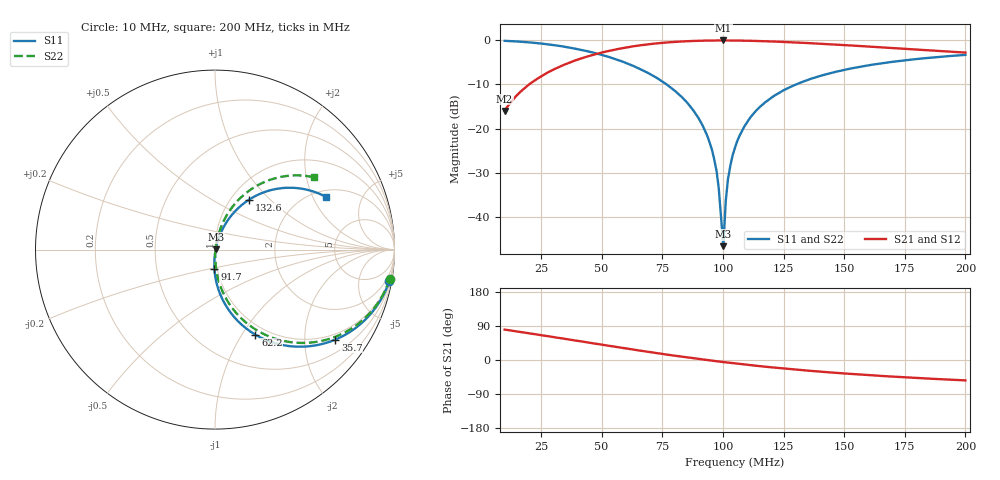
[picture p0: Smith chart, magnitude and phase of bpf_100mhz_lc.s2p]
! Touchstone 2-Port S-Parameter Data
! Circuit: 100 MHz LC Tank Bandpass Filter
! Substrate: FR4 (er=4.4, h=1.6mm)
! Transmission Line: CPWG (w=1.87mm, s=0.40mm, eps_eff=2.88)
! Simulation Mode: traces
# GHz S MA R 50.0
! Freq(GHz)  S11_mag S11_ang  S21_mag S21_ang  S12_mag S12_ang  S22_mag S22_ang
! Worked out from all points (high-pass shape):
!   201 points, 10 MHz to 200 MHz, reference 50 ohm
!   highest |S21| = -0.03 dB at 100.2 MHz (marker M1); lowest = -16.0 dB at 10 MHz (marker M2)
!   |S21| within 3 dB of the highest: 48.2 MHz to end of sweep
!   lowest |S11| = -46.6 dB at 100.2 MHz (marker M3), VSWR 1.01, Z = 50.4 + j0.243 ohm
!   |S11| at or under -10 dB: 76.84 MHz to 130.1 MHz (53.24 MHz wide, 51.5 % of centre)
!   |S22| runs from -46.6 to -0.1 dB; largest |S21 - S12| = 0
!   S11 on the Smith chart (normalised r, x): 10 MHz: 1, -11; 35.7 MHz: 0.83, -2.79; 62.2 MHz: 0.88, -1.15; 91.7 MHz: 0.97, -0.21; 132.6 MHz: 1.21, +0.76; 200 MHz: 2.29, +2.53
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0.01  0.9872 -10.2  0.1587 80.3  0.1587 80.3  0.9872 -9.7
0.0204  0.9465 -20.9  0.3215 70.1  0.3215 70.1  0.9465 -19.8
0.0357  0.8376 -36.8  0.5444 55.0  0.5444 55.0  0.8376 -34.9
0.0423  0.7722 -43.8  0.6332 48.3  0.6332 48.3  0.7722 -41.5
0.0622  0.5245 -64.6  0.8484 28.3  0.8484 28.3  0.5245 -61.3
0.0736  0.3626 -76.0  0.9287 17.4  0.9287 17.4  0.3626 -72.1
0.0851  0.1996 -86.5  0.9765 7.0  0.9765 7.0  0.1996 -82.0
0.0917  0.1081 -91.7  0.9907 1.3  0.9907 1.3  0.1081 -86.8
0.0955  0.0577 -93.4  0.9949 -1.8  0.9949 -1.8  0.0577 -88.3
0.0974  0.03317 -92.4  0.996 -3.3  0.996 -3.3  0.03317 -87.2
0.0983  0.02113 -89.7  0.9963 -4.0  0.9963 -4.0  0.02113 -84.5
0.1002  0.004679 31.0  0.9965 -5.5  0.9965 -5.5  0.004679 36.3
0.1012  0.01533 65.3  0.9964 -6.2  0.9964 -6.2  0.01533 70.6
0.1021  0.02685 70.2  0.9962 -6.9  0.9962 -6.9  0.02685 75.6
0.104  0.04978 72.1  0.9953 -8.4  0.9953 -8.4  0.04978 77.6
0.105  0.0611 72.1  0.9947 -9.1  0.9947 -9.1  0.0611 77.7
0.1088  0.1052 70.5  0.991 -11.8  0.991 -11.8  0.1052 76.3
0.1154  0.1777 66.4  0.9807 -16.4  0.9807 -16.4  0.1777 72.5
0.1326  0.3367 55.7  0.9383 -26.7  0.9383 -26.7  0.3367 62.7
0.1373  0.3743 53.0  0.9241 -29.3  0.9241 -29.3  0.3743 60.2
0.1687  0.565 37.4  0.8222 -43.3  0.8222 -43.3  0.565 46.4
0.2  0.6846 25.4  0.7264 -53.8  0.7264 -53.8  0.6846 36.0
